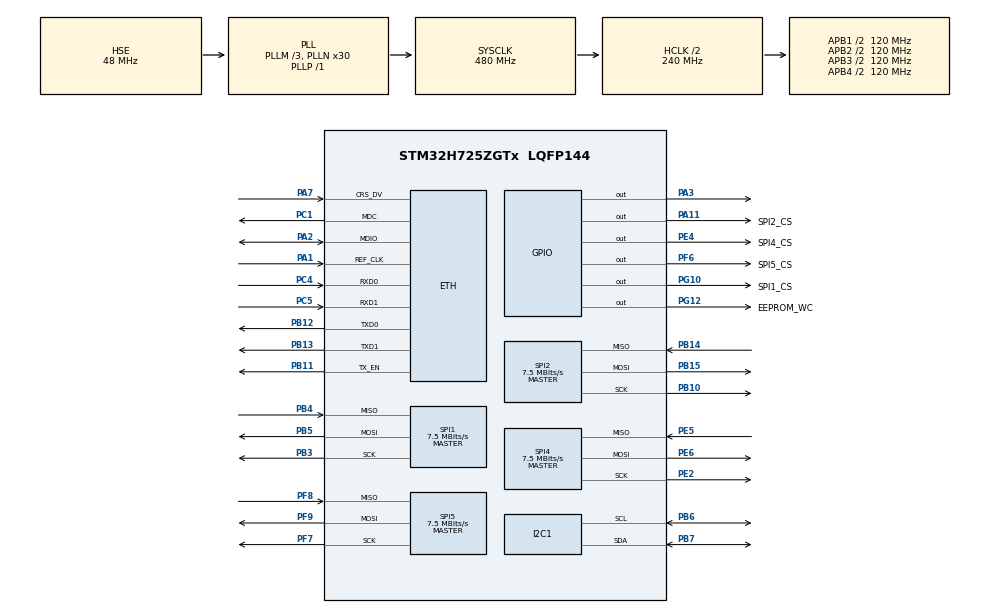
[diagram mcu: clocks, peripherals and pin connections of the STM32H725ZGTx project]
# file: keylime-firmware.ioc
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CORTEX_M7.AccessPermission_S-Cortex_Memory_Protection_Unit_Region1_Settings_S=MPU_REGION_FULL_ACCESS
CORTEX_M7.AccessPermission_S-Cortex_Memory_Protection_Unit_Region2_Settings_S=MPU_REGION_FULL_ACCESS
CORTEX_M7.BaseAddress_S-Cortex_Memory_Protection_Unit_Region1_Settings_S=0x30000000
CORTEX_M7.BaseAddress_S-Cortex_Memory_Protection_Unit_Region2_Settings_S=0x30000000
CORTEX_M7.CPU_DCache=Enabled
CORTEX_M7.CPU_ICache=Enabled
CORTEX_M7.DisableExec_S-Cortex_Memory_Protection_Unit_Region1_Settings_S=MPU_INSTRUCTION_ACCESS_DISABLE
CORTEX_M7.DisableExec_S-Cortex_Memory_Protection_Unit_Region2_Settings_S=MPU_INSTRUCTION_ACCESS_DISABLE
CORTEX_M7.Enable_S-Cortex_Memory_Protection_Unit_Region1_Settings_S=MPU_REGION_ENABLE
CORTEX_M7.Enable_S-Cortex_Memory_Protection_Unit_Region2_Settings_S=MPU_REGION_ENABLE
CORTEX_M7.IsBufferable_S-Cortex_Memory_Protection_Unit_Region2_Settings_S=MPU_ACCESS_BUFFERABLE
CORTEX_M7.IsShareable_S-Cortex_Memory_Protection_Unit_Region2_Settings_S=MPU_ACCESS_SHAREABLE
CORTEX_M7.Size_S-Cortex_Memory_Protection_Unit_Region1_Settings_S=MPU_REGION_SIZE_32KB
CORTEX_M7.Size_S-Cortex_Memory_Protection_Unit_Region2_Settings_S=MPU_REGION_SIZE_512B
CORTEX_M7.TypeExtField_S-Cortex_Memory_Protection_Unit_Region1_Settings_S=MPU_TEX_LEVEL1
CORTEX_M7.default_mode_Activation=1
CRC.InputDataInversionMode=CRC_INPUTDATA_INVERSION_BYTE
CRC.OutputDataInversionMode=CRC_OUTPUTDATA_INVERSION_ENABLE
ETH.MediaInterface=HAL_ETH_RMII_MODE
ETH.TxDescAddress=0x30000100
FREERTOS.Tasks01=defaultTask,24,2048,StartDefaultTask,Default,NULL,Dynamic,NULL,NULL
FREERTOS.configMINIMAL_STACK_SIZE=512
FREERTOS.configRECORD_STACK_HIGH_ADDRESS=1
FREERTOS.configTOTAL_HEAP_SIZE=96000
FREERTOS.configUSE_NEWLIB_REENTRANT=1
I2C1.Timing=0x307075B1
LWIP.BSP.number=1
LWIP.DEFAULT_ACCEPTMBOX_SIZE=32
LWIP.DEFAULT_TCP_RECVMBOX_SIZE=64
LWIP.DEFAULT_UDP_RECVMBOX_SIZE=64
LWIP.IP_ADDRESS=000.000.000.000
LWIP.LWIP_DHCP=0
LWIP.LWIP_RAM_HEAP_POINTER=0x30000200
LWIP.LWIP_SNTP=1
LWIP.LWIP_SO_RCVTIMEO=1
LWIP.LWIP_SO_SNDTIMEO=1
LWIP.LWIP_TCPIP_TIMEOUT=1
LWIP.LWIP_TCP_KEEPALIVE=1
LWIP.LWIP_TFTP=1
LWIP.MEMP_NUM_API_MSG=10
LWIP.MEMP_NUM_NETBUF=64
LWIP.MEMP_NUM_NETCONN=10
LWIP.MEMP_NUM_NETDB=4
LWIP.MEMP_NUM_SYS_TIMEOUT=16
LWIP.MEMP_NUM_TCPIP_MSG_INPKT=64
LWIP.MEMP_NUM_TCP_PCB=8
LWIP.MEMP_NUM_TCP_SEG=32
LWIP.MEMP_NUM_UDP_PCB=8
LWIP.MEM_SIZE=32232
LWIP.NETMASK_ADDRESS=255.255.255.000
LWIP.PBUF_POOL_BUFSIZE=1536
LWIP.PBUF_POOL_SIZE=64
LWIP.TCPIP_MBOX_SIZE=64
LWIP.TCPIP_THREAD_STACKSIZE=6400
LWIP.TCP_MSS=1460
LWIP.TCP_SND_BUF=5840
LWIP.TCP_SYNMAXRTX=0
LWIP.Version=v2.1.2_Cube
LWIP0.BSP.STBoard=false
LWIP0.BSP.api=BSP_COMPONENT_DRIVER
LWIP0.BSP.component=LAN8742
LWIP0.BSP.instance=LAN8742
LWIP0.BSP.name=Driver_PHY
LWIP0.BSP.semaphore=S_LAN8742
LWIP0.BSP.solution=LAN8742
Mcu.Family=STM32H7
Mcu.Name=STM32H725ZGTx
Mcu.Package=LQFP144
NVIC.ETH_IRQn=true\:5\:0\:false\:false\:true\:true\:true\:true\:true
NVIC.PriorityGroup=NVIC_PRIORITYGROUP_4
NVIC.TIM6_DAC_IRQn=true\:15\:0\:false\:false\:true\:false\:false\:true\:true
NVIC.TimeBase=TIM6_DAC_IRQn
NVIC.TimeBaseIP=TIM6
PA1.GPIO_Speed=GPIO_SPEED_FREQ_VERY_HIGH
PA1.Mode=RMII
PA1.Signal=ETH_REF_CLK
PA11.GPIO_Label=SPI2_CS
PA11.PinState=GPIO_PIN_SET
PA11.Signal=GPIO_Output
PA2.GPIO_Speed=GPIO_SPEED_FREQ_VERY_HIGH
PA2.Mode=RMII
PA2.Signal=ETH_MDIO
PA3.Signal=GPIO_Output
PA7.GPIO_Speed=GPIO_SPEED_FREQ_VERY_HIGH
PA7.Mode=RMII
PA7.Signal=ETH_CRS_DV
PB10.Mode=Full_Duplex_Master
PB10.Signal=SPI2_SCK
PB11.GPIO_Speed=GPIO_SPEED_FREQ_VERY_HIGH
PB11.Mode=RMII
PB11.Signal=ETH_TX_EN
PB12.GPIO_Speed=GPIO_SPEED_FREQ_VERY_HIGH
PB12.Mode=RMII
PB12.Signal=ETH_TXD0
PB13.GPIO_Speed=GPIO_SPEED_FREQ_VERY_HIGH
PB13.Mode=RMII
PB13.Signal=ETH_TXD1
PB14.Mode=Full_Duplex_Master
PB14.Signal=SPI2_MISO
PB15.Mode=Full_Duplex_Master
PB15.Signal=SPI2_MOSI
PB3(JTDO/TRACESWO).Mode=Full_Duplex_Master
PB3(JTDO/TRACESWO).Signal=SPI1_SCK
PB4(NJTRST).Mode=Full_Duplex_Master
PB4(NJTRST).Signal=SPI1_MISO
PB5.Mode=Full_Duplex_Master
PB5.Signal=SPI1_MOSI
PB6.Mode=I2C
PB6.Signal=I2C1_SCL
PB7.Mode=I2C
PB7.Signal=I2C1_SDA
PC1.GPIO_Speed=GPIO_SPEED_FREQ_VERY_HIGH
PC1.Mode=RMII
PC1.Signal=ETH_MDC
PC4.GPIO_Speed=GPIO_SPEED_FREQ_VERY_HIGH
PC4.Mode=RMII
PC4.Signal=ETH_RXD0
PC5.GPIO_Speed=GPIO_SPEED_FREQ_VERY_HIGH
PC5.Mode=RMII
PC5.Signal=ETH_RXD1
PE2.Mode=Full_Duplex_Master
PE2.Signal=SPI4_SCK
PE4.GPIO_Label=SPI4_CS
PE4.PinState=GPIO_PIN_SET
PE4.Signal=GPIO_Output
PE5.Mode=Full_Duplex_Master
PE5.Signal=SPI4_MISO
PE6.Mode=Full_Duplex_Master
PE6.Signal=SPI4_MOSI
PF6.GPIO_Label=SPI5_CS
PF6.PinState=GPIO_PIN_SET
PF6.Signal=GPIO_Output
PF7.Mode=Full_Duplex_Master
PF7.Signal=SPI5_SCK
PF8.Mode=Full_Duplex_Master
PF8.Signal=SPI5_MISO
PF9.Mode=Full_Duplex_Master
PF9.Signal=SPI5_MOSI
PG10.GPIO_Label=SPI1_CS
PG10.PinState=GPIO_PIN_SET
PG10.Signal=GPIO_Output
PG12.GPIO_Label=EEPROM_WC
PG12.Signal=GPIO_Output
PH0-OSC_IN.Mode=HSE-External-Oscillator
PH0-OSC_IN.Signal=RCC_OSC_IN
PH1-OSC_OUT.Mode=HSE-External-Oscillator
PH1-OSC_OUT.Signal=RCC_OSC_OUT
ProjectManager.HeapSize=0x200
ProjectManager.StackSize=0x400
ProjectManager.TargetToolchain=STM32CubeIDE
RCC.ADCFreq_Value=387000000
RCC.APB1Freq_Value=120000000
RCC.APB2Freq_Value=120000000
RCC.APB3Freq_Value=120000000
RCC.APB4Freq_Value=120000000
RCC.CortexFreq_Value=480000000
RCC.D1PPRE=RCC_APB3_DIV2
RCC.D2PPRE1=RCC_APB1_DIV2
RCC.D2PPRE2=RCC_APB2_DIV2
RCC.D3PPRE=RCC_APB4_DIV2
RCC.DIVM1=3
RCC.DIVM2=8
RCC.DIVM3=3
RCC.DIVN1=30
RCC.DIVN3=30
RCC.DIVP1=1
RCC.HCLKFreq_Value=240000000
RCC.HPRE=RCC_HCLK_DIV2
RCC.HSE_VALUE=48000000
RCC.PLLSourceVirtual=RCC_PLLSOURCE_HSE
RCC.PWR_Regulator_Voltage_Scale=PWR_REGULATOR_VOLTAGE_SCALE0
RCC.RCC_RTC_Clock_Source_FROM_HSE=RCC_RTCCLKSOURCE_HSE_DIV60
RCC.RTCClockSelection=RCC_RTCCLKSOURCE_HSE_DIV60
RCC.SYSCLKFreq_VALUE=480000000
RCC.SYSCLKSource=RCC_SYSCLKSOURCE_PLLCLK
RCC.Spi45ClockSelection=RCC_SPI45CLKSOURCE_PLL3
RCC.SupplySource=PWR_LDO_SUPPLY
RCC.USBFreq_Value=240000000
RTC.Format=RTC_FORMAT_BIN
SPI1.BaudRatePrescaler=SPI_BAUDRATEPRESCALER_32
SPI1.CalculateBaudRate=7.5 MBits/s
SPI1.DataSize=SPI_DATASIZE_8BIT
SPI1.Direction=SPI_DIRECTION_2LINES
SPI1.Mode=SPI_MODE_MASTER
SPI1.VirtualType=VM_MASTER
SPI2.BaudRatePrescaler=SPI_BAUDRATEPRESCALER_32
SPI2.CalculateBaudRate=7.5 MBits/s
SPI2.DataSize=SPI_DATASIZE_8BIT
SPI2.Direction=SPI_DIRECTION_2LINES
SPI2.Mode=SPI_MODE_MASTER
SPI2.VirtualType=VM_MASTER
SPI4.BaudRatePrescaler=SPI_BAUDRATEPRESCALER_32
SPI4.CalculateBaudRate=7.5 MBits/s
SPI4.DataSize=SPI_DATASIZE_8BIT
SPI4.Direction=SPI_DIRECTION_2LINES
SPI4.Mode=SPI_MODE_MASTER
SPI4.VirtualType=VM_MASTER
SPI5.BaudRatePrescaler=SPI_BAUDRATEPRESCALER_32
SPI5.CalculateBaudRate=7.5 MBits/s
SPI5.DataSize=SPI_DATASIZE_8BIT
SPI5.Direction=SPI_DIRECTION_2LINES
SPI5.Mode=SPI_MODE_MASTER
SPI5.VirtualType=VM_MASTER
VP_CRC_VS_CRC.Mode=CRC_Activate
VP_FREERTOS_VS_CMSIS_V2.Mode=CMSIS_V2
VP_LWIP_VS_Enabled.Mode=Enabled
VP_MEMORYMAP_VS_MEMORYMAP.Mode=CurAppReg
VP_RTC_VS_RTC_Activate.Mode=RTC_Enabled
VP_RTC_VS_RTC_Calendar.Mode=RTC_Calendar
VP_SYS_VS_tim6.Mode=TIM6
board=custom

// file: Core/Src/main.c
/* USER CODE BEGIN Header */
/**
  ******************************************************************************
  * @file           : main.c
  * @brief          : Main program body
  ******************************************************************************
  * @attention
  *
  * Copyright (c) 2025 STMicroelectronics.
  * All rights reserved.
  *
  * This software is licensed under terms that can be found in the LICENSE file
  * in the root directory of this software component.
  * If no LICENSE file comes with this software, it is provided AS-IS.
  *
  ******************************************************************************
  */
/* USER CODE END Header */
#include "main.h"
#include "cmsis_os.h"
#include "lwip.h"

/* USER CODE BEGIN Includes */
#include "logging.h"
#include "eeprom-config.h"
#include "client.h"
#include "network-processing.h"
#include "udptelemetry.h"
/* USER CODE END Includes */

/* USER CODE BEGIN PD */
extern struct netif gnetif;
EEPROM_conf_t loaded_config = {0};
ip4_addr_t fr_addr;
/* USER CODE END PD */

CRC_HandleTypeDef hcrc;

I2C_HandleTypeDef hi2c1;

RTC_HandleTypeDef hrtc;

SPI_HandleTypeDef hspi1;
SPI_HandleTypeDef hspi2;
SPI_HandleTypeDef hspi4;
SPI_HandleTypeDef hspi5;

/* Definitions for defaultTask */
osThreadId_t defaultTaskHandle;
const osThreadAttr_t defaultTask_attributes = {
  .name = "defaultTask",
  .stack_size = 2048 * 4,
  .priority = (osPriority_t) osPriorityNormal,
};
/* USER CODE BEGIN PV */
osThreadId_t logListenTaskHandle;
const osThreadAttr_t log_listen_task_attr = {
  .name = "logListenTask",
  .stack_size = 512 * 4,
  .priority = (osPriority_t) osPriorityNormal,
};

osThreadId_t telemetrySendTaskHandle;
const osThreadAttr_t telemetry_send_task_attr = {
  .name = "telemSendTask",
  .stack_size = 512 * 4,
  .priority = (osPriority_t) osPriorityNormal,
};

osThreadId_t packetTaskHandle;
const osThreadAttr_t packet_task_attr = {
  .name = "packetTask",
  .stack_size = 512 * 4,
  .priority = (osPriority_t) osPriorityNormal,
};

osThreadId_t flashClearTaskHandle;
const osThreadAttr_t flash_clear_task_attr = {
  .name = "flashCTask",
  .stack_size = 1024 * 4,
  .priority = (osPriority_t) osPriorityNormal,
};

/* USER CODE END PV */

void SystemClock_Config(void);
void PeriphCommonClock_Config(void);
static void MPU_Config(void);
static void MX_GPIO_Init(void);
static void MX_RTC_Init(void);
static void MX_SPI5_Init(void);
static void MX_CRC_Init(void);
static void MX_I2C1_Init(void);
static void MX_SPI1_Init(void);
static void MX_SPI2_Init(void);
static void MX_SPI4_Init(void);
void StartDefaultTask(void *argument);

/* USER CODE BEGIN 0 */
void __malloc_lock(struct _reent *r) {
    if(xTaskGetSchedulerState() != taskSCHEDULER_NOT_STARTED) {
        vTaskSuspendAll();
    }
}

void __malloc_unlock(struct _reent *r) {
    if(xTaskGetSchedulerState() != taskSCHEDULER_NOT_STARTED) {
        (void)xTaskResumeAll();
    }
}

static void Enable_GPIO_Clock(GPIO_TypeDef *port) {
    if (port == GPIOA) __HAL_RCC_GPIOA_CLK_ENABLE();
    else if (port == GPIOB) __HAL_RCC_GPIOB_CLK_ENABLE();
    else if (port == GPIOC) __HAL_RCC_GPIOC_CLK_ENABLE();
    else if (port == GPIOD) __HAL_RCC_GPIOD_CLK_ENABLE();
    else if (port == GPIOE) __HAL_RCC_GPIOE_CLK_ENABLE();
    else if (port == GPIOF) __HAL_RCC_GPIOF_CLK_ENABLE();
    else if (port == GPIOG) __HAL_RCC_GPIOG_CLK_ENABLE();
    else if (port == GPIOH) __HAL_RCC_GPIOH_CLK_ENABLE();
#ifdef GPIOI
    else if (port == GPIOI) __HAL_RCC_GPIOI_CLK_ENABLE();
#endif
    else if (port == GPIOJ) __HAL_RCC_GPIOJ_CLK_ENABLE();
    else if (port == GPIOK) __HAL_RCC_GPIOK_CLK_ENABLE();
}

void clear_i2c_bus(GPIO_TypeDef * scl_port, uint16_t scl_pin, GPIO_TypeDef * sda_port, uint16_t sda_pin) {
	Enable_GPIO_Clock(scl_port);
	Enable_GPIO_Clock(sda_port);

    GPIO_InitTypeDef GPIO_InitStruct = {0};

    GPIO_InitStruct.Pin = scl_pin;
    GPIO_InitStruct.Mode = GPIO_MODE_OUTPUT_OD;
    GPIO_InitStruct.Pull = GPIO_NOPULL;
    GPIO_InitStruct.Speed = GPIO_SPEED_FREQ_HIGH;
    HAL_GPIO_Init(scl_port, &GPIO_InitStruct);

    GPIO_InitStruct.Pin = sda_pin;
    GPIO_InitStruct.Mode = GPIO_MODE_OUTPUT_OD;
    GPIO_InitStruct.Pull = GPIO_NOPULL;
    GPIO_InitStruct.Speed = GPIO_SPEED_FREQ_HIGH;
    HAL_GPIO_Init(sda_port, &GPIO_InitStruct);

    HAL_GPIO_WritePin(sda_port, sda_pin, GPIO_PIN_SET);

    for (uint8_t i = 0; i < 9; i++) {
        if (HAL_GPIO_ReadPin(sda_port, sda_pin) == GPIO_PIN_SET) {
            break;
        }

        HAL_GPIO_WritePin(scl_port, scl_pin, GPIO_PIN_RESET);
        HAL_Delay(1);

        HAL_GPIO_WritePin(scl_port, scl_pin, GPIO_PIN_SET);
        HAL_Delay(1);
    }

    HAL_GPIO_WritePin(scl_port, scl_pin, GPIO_PIN_SET);
    HAL_Delay(1);
    HAL_GPIO_WritePin(sda_port, sda_pin, GPIO_PIN_RESET);
    HAL_Delay(1);
    HAL_GPIO_WritePin(sda_port, sda_pin, GPIO_PIN_SET);
    HAL_Delay(1);

    HAL_GPIO_DeInit(sda_port, sda_pin);
    HAL_GPIO_DeInit(scl_port, scl_pin);
}
/* USER CODE END 0 */

int main(void)
{

  /* MPU Configuration--------------------------------------------------------*/
  MPU_Config();

  /* Enable the CPU Cache */

  /* Enable I-Cache---------------------------------------------------------*/
  SCB_EnableICache();

  /* Enable D-Cache---------------------------------------------------------*/
  SCB_EnableDCache();

  /* MCU Configuration--------------------------------------------------------*/

  /* Reset of all peripherals, Initializes the Flash interface and the Systick. */
  HAL_Init();

  /* Configure the system clock */
  SystemClock_Config();

  /* Configure the peripherals common clocks */
  PeriphCommonClock_Config();

  /* USER CODE BEGIN SysInit */
  HAL_PWR_EnableBkUpAccess();
  // Force reset RTC registers in case something got corrupted
  __HAL_RCC_BACKUPRESET_FORCE();
  __HAL_RCC_BACKUPRESET_RELEASE();

  clear_i2c_bus(GPIOB, GPIO_PIN_6, GPIOB, GPIO_PIN_7);
  /* USER CODE END SysInit */

  /* Initialize all configured peripherals */
  MX_GPIO_Init();
  MX_RTC_Init();
  MX_SPI5_Init();
  MX_CRC_Init();
  MX_I2C1_Init();
  MX_SPI1_Init();
  MX_SPI2_Init();
  MX_SPI4_Init();

  /* Init scheduler */
  osKernelInitialize();

  /* USER CODE BEGIN RTOS_MUTEX */
  timesync_setup(&hrtc);
  if(logging_setup()) {
	 for(;;) {}
  }
  /* USER CODE END RTOS_MUTEX */

  /* USER CODE BEGIN RTOS_QUEUES */
  if(setup_eeprom(&hi2c1, EEPROM_WC_GPIO_Port, EEPROM_WC_Pin)) {
#ifdef EEPROM_OVERRIDE
  	load_eeprom_defaults(&loaded_config);
  	log_message(STAT_EEPROM_DEFAULT_LOADED, -1);
#else
  	switch(load_eeprom_config(&loaded_config)) {
  	  	case -1: {
  	  		// eeprom load error, defaults loaded
  	  		load_eeprom_defaults(&loaded_config);
  	  		log_message(ERR_EEPROM_LOAD_COMM_ERR, -1);
  	  		break;
  	  	}
  	  	default: {
  	  		// eeprom conf loaded
  	  		log_message(STAT_EEPROM_LOADED, -1);
  	  		break;
  		}
  	}
#endif
  }
  else {
    // eeprom init error, defaults loaded
    load_eeprom_defaults(&loaded_config);
    log_message(ERR_EEPROM_INIT, -1);
  }
  fr_addr = loaded_config.flightrecorderIP;

  log_message(STAT_VERSION_INFO, -1);
  if(init_flash_logging(&hspi1, SPI1_CS_GPIO_Port, SPI1_CS_Pin, 0)) {
	log_message(FR_ERR_FLASH_INIT_FAILED "1", -1);
  }
  if(init_flash_logging(&hspi2, SPI2_CS_GPIO_Port, SPI2_CS_Pin, 1)) {
    log_message(FR_ERR_FLASH_INIT_FAILED "2", -1);
  }
  if(init_flash_logging(&hspi4, SPI4_CS_GPIO_Port, SPI4_CS_Pin, 2)) {
    log_message(FR_ERR_FLASH_INIT_FAILED "3", -1);
  }
  if(init_flash_logging(&hspi5, SPI5_CS_GPIO_Port, SPI5_CS_Pin, 3)) {
    log_message(FR_ERR_FLASH_INIT_FAILED "4", -1);
  }

  if(telemetry_setup(get_logging_state(0) == 1)) {
     for(;;) {}
  }

  /* USER CODE END RTOS_QUEUES */

  /* Create the thread(s) */
  /* creation of defaultTask */
  defaultTaskHandle = osThreadNew(StartDefaultTask, NULL, &defaultTask_attributes);

  /* USER CODE BEGIN RTOS_THREADS */
  flashClearTaskHandle = osThreadNew(FlashClearTask, NULL, &flash_clear_task_attr);
  /* add threads, ... */
  /* USER CODE END RTOS_THREADS */

  /* Start scheduler */
  osKernelStart();

  /* We should never get here as control is now taken by the scheduler */

  /* Infinite loop */
  while (1)
  {

  }
}

void SystemClock_Config(void)
{
  RCC_OscInitTypeDef RCC_OscInitStruct = {0};
  RCC_ClkInitTypeDef RCC_ClkInitStruct = {0};

  /** Supply configuration update enable
  */
  HAL_PWREx_ConfigSupply(PWR_LDO_SUPPLY);

  /** Configure the main internal regulator output voltage
  */
  __HAL_PWR_VOLTAGESCALING_CONFIG(PWR_REGULATOR_VOLTAGE_SCALE0);

  while(!__HAL_PWR_GET_FLAG(PWR_FLAG_VOSRDY)) {}

  /** Initializes the RCC Oscillators according to the specified parameters
  * in the RCC_OscInitTypeDef structure.
  */
  RCC_OscInitStruct.OscillatorType = RCC_OSCILLATORTYPE_HSE;
  RCC_OscInitStruct.HSEState = RCC_HSE_ON;
  RCC_OscInitStruct.PLL.PLLState = RCC_PLL_ON;
  RCC_OscInitStruct.PLL.PLLSource = RCC_PLLSOURCE_HSE;
  RCC_OscInitStruct.PLL.PLLM = 3;
  RCC_OscInitStruct.PLL.PLLN = 30;
  RCC_OscInitStruct.PLL.PLLP = 1;
  RCC_OscInitStruct.PLL.PLLQ = 2;
  RCC_OscInitStruct.PLL.PLLR = 2;
  RCC_OscInitStruct.PLL.PLLRGE = RCC_PLL1VCIRANGE_3;
  RCC_OscInitStruct.PLL.PLLVCOSEL = RCC_PLL1VCOWIDE;
  RCC_OscInitStruct.PLL.PLLFRACN = 0;
  if (HAL_RCC_OscConfig(&RCC_OscInitStruct) != HAL_OK)
  {
    Error_Handler();
  }

  /** Initializes the CPU, AHB and APB buses clocks
  */
  RCC_ClkInitStruct.ClockType = RCC_CLOCKTYPE_HCLK|RCC_CLOCKTYPE_SYSCLK
                              |RCC_CLOCKTYPE_PCLK1|RCC_CLOCKTYPE_PCLK2
                              |RCC_CLOCKTYPE_D3PCLK1|RCC_CLOCKTYPE_D1PCLK1;
  RCC_ClkInitStruct.SYSCLKSource = RCC_SYSCLKSOURCE_PLLCLK;
  RCC_ClkInitStruct.SYSCLKDivider = RCC_SYSCLK_DIV1;
  RCC_ClkInitStruct.AHBCLKDivider = RCC_HCLK_DIV2;
  RCC_ClkInitStruct.APB3CLKDivider = RCC_APB3_DIV2;
  RCC_ClkInitStruct.APB1CLKDivider = RCC_APB1_DIV2;
  RCC_ClkInitStruct.APB2CLKDivider = RCC_APB2_DIV2;
  RCC_ClkInitStruct.APB4CLKDivider = RCC_APB4_DIV2;

  if (HAL_RCC_ClockConfig(&RCC_ClkInitStruct, FLASH_LATENCY_3) != HAL_OK)
  {
    Error_Handler();
  }
}

void PeriphCommonClock_Config(void)
{
  RCC_PeriphCLKInitTypeDef PeriphClkInitStruct = {0};

  /** Initializes the peripherals clock
  */
  PeriphClkInitStruct.PeriphClockSelection = RCC_PERIPHCLK_SPI4|RCC_PERIPHCLK_SPI5;
  PeriphClkInitStruct.PLL3.PLL3M = 3;
  PeriphClkInitStruct.PLL3.PLL3N = 30;
  PeriphClkInitStruct.PLL3.PLL3P = 2;
  PeriphClkInitStruct.PLL3.PLL3Q = 2;
  PeriphClkInitStruct.PLL3.PLL3R = 2;
  PeriphClkInitStruct.PLL3.PLL3RGE = RCC_PLL3VCIRANGE_3;
  PeriphClkInitStruct.PLL3.PLL3VCOSEL = RCC_PLL3VCOWIDE;
  PeriphClkInitStruct.PLL3.PLL3FRACN = 0;
  PeriphClkInitStruct.Spi45ClockSelection = RCC_SPI45CLKSOURCE_PLL3;
  if (HAL_RCCEx_PeriphCLKConfig(&PeriphClkInitStruct) != HAL_OK)
  {
    Error_Handler();
  }
}

static void MX_CRC_Init(void)
{

  hcrc.Instance = CRC;
  hcrc.Init.DefaultPolynomialUse = DEFAULT_POLYNOMIAL_ENABLE;
  hcrc.Init.DefaultInitValueUse = DEFAULT_INIT_VALUE_ENABLE;
  hcrc.Init.InputDataInversionMode = CRC_INPUTDATA_INVERSION_BYTE;
  hcrc.Init.OutputDataInversionMode = CRC_OUTPUTDATA_INVERSION_ENABLE;
  hcrc.InputDataFormat = CRC_INPUTDATA_FORMAT_BYTES;
  if (HAL_CRC_Init(&hcrc) != HAL_OK)
  {
    Error_Handler();
  }

}

static void MX_I2C1_Init(void)
{

  hi2c1.Instance = I2C1;
  hi2c1.Init.Timing = 0x307075B1;
  hi2c1.Init.OwnAddress1 = 0;
  hi2c1.Init.AddressingMode = I2C_ADDRESSINGMODE_7BIT;
  hi2c1.Init.DualAddressMode = I2C_DUALADDRESS_DISABLE;
  hi2c1.Init.OwnAddress2 = 0;
  hi2c1.Init.OwnAddress2Masks = I2C_OA2_NOMASK;
  hi2c1.Init.GeneralCallMode = I2C_GENERALCALL_DISABLE;
  hi2c1.Init.NoStretchMode = I2C_NOSTRETCH_DISABLE;
  if (HAL_I2C_Init(&hi2c1) != HAL_OK)
  {
    Error_Handler();
  }

  /** Configure Analogue filter
  */
  if (HAL_I2CEx_ConfigAnalogFilter(&hi2c1, I2C_ANALOGFILTER_ENABLE) != HAL_OK)
  {
    Error_Handler();
  }

  /** Configure Digital filter
  */
  if (HAL_I2CEx_ConfigDigitalFilter(&hi2c1, 0) != HAL_OK)
  {
    Error_Handler();
  }

}

static void MX_RTC_Init(void)
{

  RTC_TimeTypeDef sTime = {0};
  RTC_DateTypeDef sDate = {0};

  /** Initialize RTC Only
  */
  hrtc.Instance = RTC;
  hrtc.Init.HourFormat = RTC_HOURFORMAT_24;
  hrtc.Init.AsynchPrediv = 127;
  hrtc.Init.SynchPrediv = 255;
  hrtc.Init.OutPut = RTC_OUTPUT_DISABLE;
  hrtc.Init.OutPutPolarity = RTC_OUTPUT_POLARITY_HIGH;
  hrtc.Init.OutPutType = RTC_OUTPUT_TYPE_OPENDRAIN;
  hrtc.Init.OutPutRemap = RTC_OUTPUT_REMAP_NONE;
  if (HAL_RTC_Init(&hrtc) != HAL_OK)
  {
    Error_Handler();
  }

  /** Initialize RTC and set the Time and Date
  */
  sTime.Hours = 0;
  sTime.Minutes = 0;
  sTime.Seconds = 0;
  sTime.DayLightSaving = RTC_DAYLIGHTSAVING_NONE;
  sTime.StoreOperation = RTC_STOREOPERATION_RESET;
  if (HAL_RTC_SetTime(&hrtc, &sTime, RTC_FORMAT_BIN) != HAL_OK)
  {
    Error_Handler();
  }
  sDate.WeekDay = RTC_WEEKDAY_MONDAY;
  sDate.Month = RTC_MONTH_JANUARY;
  sDate.Date = 1;
  sDate.Year = 0;

  if (HAL_RTC_SetDate(&hrtc, &sDate, RTC_FORMAT_BIN) != HAL_OK)
  {
    Error_Handler();
  }

}

static void MX_SPI1_Init(void)
{

  /* SPI1 parameter configuration*/
  hspi1.Instance = SPI1;
  hspi1.Init.Mode = SPI_MODE_MASTER;
  hspi1.Init.Direction = SPI_DIRECTION_2LINES;
  hspi1.Init.DataSize = SPI_DATASIZE_8BIT;
  hspi1.Init.CLKPolarity = SPI_POLARITY_LOW;
  hspi1.Init.CLKPhase = SPI_PHASE_1EDGE;
  hspi1.Init.NSS = SPI_NSS_SOFT;
  hspi1.Init.BaudRatePrescaler = SPI_BAUDRATEPRESCALER_32;
  hspi1.Init.FirstBit = SPI_FIRSTBIT_MSB;
  hspi1.Init.TIMode = SPI_TIMODE_DISABLE;
  hspi1.Init.CRCCalculation = SPI_CRCCALCULATION_DISABLE;
  hspi1.Init.CRCPolynomial = 0x0;
  hspi1.Init.NSSPMode = SPI_NSS_PULSE_ENABLE;
  hspi1.Init.NSSPolarity = SPI_NSS_POLARITY_LOW;
  hspi1.Init.FifoThreshold = SPI_FIFO_THRESHOLD_01DATA;
  hspi1.Init.TxCRCInitializationPattern = SPI_CRC_INITIALIZATION_ALL_ZERO_PATTERN;
  hspi1.Init.RxCRCInitializationPattern = SPI_CRC_INITIALIZATION_ALL_ZERO_PATTERN;
  hspi1.Init.MasterSSIdleness = SPI_MASTER_SS_IDLENESS_00CYCLE;
  hspi1.Init.MasterInterDataIdleness = SPI_MASTER_INTERDATA_IDLENESS_00CYCLE;
  hspi1.Init.MasterReceiverAutoSusp = SPI_MASTER_RX_AUTOSUSP_DISABLE;
  hspi1.Init.MasterKeepIOState = SPI_MASTER_KEEP_IO_STATE_DISABLE;
  hspi1.Init.IOSwap = SPI_IO_SWAP_DISABLE;
  if (HAL_SPI_Init(&hspi1) != HAL_OK)
  {
    Error_Handler();
  }

}

static void MX_SPI2_Init(void)
{

  /* SPI2 parameter configuration*/
  hspi2.Instance = SPI2;
  hspi2.Init.Mode = SPI_MODE_MASTER;
  hspi2.Init.Direction = SPI_DIRECTION_2LINES;
  hspi2.Init.DataSize = SPI_DATASIZE_8BIT;
  hspi2.Init.CLKPolarity = SPI_POLARITY_LOW;
  hspi2.Init.CLKPhase = SPI_PHASE_1EDGE;
  hspi2.Init.NSS = SPI_NSS_SOFT;
  hspi2.Init.BaudRatePrescaler = SPI_BAUDRATEPRESCALER_32;
  hspi2.Init.FirstBit = SPI_FIRSTBIT_MSB;
  hspi2.Init.TIMode = SPI_TIMODE_DISABLE;
  hspi2.Init.CRCCalculation = SPI_CRCCALCULATION_DISABLE;
  hspi2.Init.CRCPolynomial = 0x0;
  hspi2.Init.NSSPMode = SPI_NSS_PULSE_ENABLE;
  hspi2.Init.NSSPolarity = SPI_NSS_POLARITY_LOW;
  hspi2.Init.FifoThreshold = SPI_FIFO_THRESHOLD_01DATA;
  hspi2.Init.TxCRCInitializationPattern = SPI_CRC_INITIALIZATION_ALL_ZERO_PATTERN;
  hspi2.Init.RxCRCInitializationPattern = SPI_CRC_INITIALIZATION_ALL_ZERO_PATTERN;
  hspi2.Init.MasterSSIdleness = SPI_MASTER_SS_IDLENESS_00CYCLE;
  hspi2.Init.MasterInterDataIdleness = SPI_MASTER_INTERDATA_IDLENESS_00CYCLE;
  hspi2.Init.MasterReceiverAutoSusp = SPI_MASTER_RX_AUTOSUSP_DISABLE;
  hspi2.Init.MasterKeepIOState = SPI_MASTER_KEEP_IO_STATE_DISABLE;
  hspi2.Init.IOSwap = SPI_IO_SWAP_DISABLE;
  if (HAL_SPI_Init(&hspi2) != HAL_OK)
  {
    Error_Handler();
  }

}

static void MX_SPI4_Init(void)
{

  /* SPI4 parameter configuration*/
  hspi4.Instance = SPI4;
  hspi4.Init.Mode = SPI_MODE_MASTER;
  hspi4.Init.Direction = SPI_DIRECTION_2LINES;
  hspi4.Init.DataSize = SPI_DATASIZE_8BIT;
  hspi4.Init.CLKPolarity = SPI_POLARITY_LOW;
  hspi4.Init.CLKPhase = SPI_PHASE_1EDGE;
  hspi4.Init.NSS = SPI_NSS_SOFT;
  hspi4.Init.BaudRatePrescaler = SPI_BAUDRATEPRESCALER_32;
  hspi4.Init.FirstBit = SPI_FIRSTBIT_MSB;
  hspi4.Init.TIMode = SPI_TIMODE_DISABLE;
  hspi4.Init.CRCCalculation = SPI_CRCCALCULATION_DISABLE;
  hspi4.Init.CRCPolynomial = 0x0;
  hspi4.Init.NSSPMode = SPI_NSS_PULSE_ENABLE;
  hspi4.Init.NSSPolarity = SPI_NSS_POLARITY_LOW;
  hspi4.Init.FifoThreshold = SPI_FIFO_THRESHOLD_01DATA;
  hspi4.Init.TxCRCInitializationPattern = SPI_CRC_INITIALIZATION_ALL_ZERO_PATTERN;
  hspi4.Init.RxCRCInitializationPattern = SPI_CRC_INITIALIZATION_ALL_ZERO_PATTERN;
  hspi4.Init.MasterSSIdleness = SPI_MASTER_SS_IDLENESS_00CYCLE;
  hspi4.Init.MasterInterDataIdleness = SPI_MASTER_INTERDATA_IDLENESS_00CYCLE;
  hspi4.Init.MasterReceiverAutoSusp = SPI_MASTER_RX_AUTOSUSP_DISABLE;
  hspi4.Init.MasterKeepIOState = SPI_MASTER_KEEP_IO_STATE_DISABLE;
  hspi4.Init.IOSwap = SPI_IO_SWAP_DISABLE;
  if (HAL_SPI_Init(&hspi4) != HAL_OK)
  {
    Error_Handler();
  }

}

static void MX_SPI5_Init(void)
{

  /* SPI5 parameter configuration*/
  hspi5.Instance = SPI5;
  hspi5.Init.Mode = SPI_MODE_MASTER;
  hspi5.Init.Direction = SPI_DIRECTION_2LINES;
  hspi5.Init.DataSize = SPI_DATASIZE_8BIT;
  hspi5.Init.CLKPolarity = SPI_POLARITY_LOW;
  hspi5.Init.CLKPhase = SPI_PHASE_1EDGE;
  hspi5.Init.NSS = SPI_NSS_SOFT;
  hspi5.Init.BaudRatePrescaler = SPI_BAUDRATEPRESCALER_32;
  hspi5.Init.FirstBit = SPI_FIRSTBIT_MSB;
  hspi5.Init.TIMode = SPI_TIMODE_DISABLE;
  hspi5.Init.CRCCalculation = SPI_CRCCALCULATION_DISABLE;
  hspi5.Init.CRCPolynomial = 0x0;
  hspi5.Init.NSSPMode = SPI_NSS_PULSE_ENABLE;
  hspi5.Init.NSSPolarity = SPI_NSS_POLARITY_LOW;
  hspi5.Init.FifoThreshold = SPI_FIFO_THRESHOLD_01DATA;
  hspi5.Init.TxCRCInitializationPattern = SPI_CRC_INITIALIZATION_ALL_ZERO_PATTERN;
  hspi5.Init.RxCRCInitializationPattern = SPI_CRC_INITIALIZATION_ALL_ZERO_PATTERN;
  hspi5.Init.MasterSSIdleness = SPI_MASTER_SS_IDLENESS_00CYCLE;
  hspi5.Init.MasterInterDataIdleness = SPI_MASTER_INTERDATA_IDLENESS_00CYCLE;
  hspi5.Init.MasterReceiverAutoSusp = SPI_MASTER_RX_AUTOSUSP_DISABLE;
  hspi5.Init.MasterKeepIOState = SPI_MASTER_KEEP_IO_STATE_DISABLE;
  hspi5.Init.IOSwap = SPI_IO_SWAP_DISABLE;
  if (HAL_SPI_Init(&hspi5) != HAL_OK)
  {
    Error_Handler();
  }

}

static void MX_GPIO_Init(void)
{
  GPIO_InitTypeDef GPIO_InitStruct = {0};

  /* GPIO Ports Clock Enable */
  __HAL_RCC_GPIOE_CLK_ENABLE();
  __HAL_RCC_GPIOF_CLK_ENABLE();
  __HAL_RCC_GPIOH_CLK_ENABLE();
  __HAL_RCC_GPIOC_CLK_ENABLE();
  __HAL_RCC_GPIOA_CLK_ENABLE();
  __HAL_RCC_GPIOB_CLK_ENABLE();
  __HAL_RCC_GPIOG_CLK_ENABLE();

  /*Configure GPIO pin Output Level */
  HAL_GPIO_WritePin(SPI4_CS_GPIO_Port, SPI4_CS_Pin, GPIO_PIN_SET);

  /*Configure GPIO pin Output Level */
  HAL_GPIO_WritePin(SPI5_CS_GPIO_Port, SPI5_CS_Pin, GPIO_PIN_SET);

  /*Configure GPIO pin Output Level */
  HAL_GPIO_WritePin(GPIOA, GPIO_PIN_3, GPIO_PIN_RESET);

  /*Configure GPIO pin Output Level */
  HAL_GPIO_WritePin(SPI2_CS_GPIO_Port, SPI2_CS_Pin, GPIO_PIN_SET);

  /*Configure GPIO pin Output Level */
  HAL_GPIO_WritePin(SPI1_CS_GPIO_Port, SPI1_CS_Pin, GPIO_PIN_SET);

  /*Configure GPIO pin Output Level */
  HAL_GPIO_WritePin(EEPROM_WC_GPIO_Port, EEPROM_WC_Pin, GPIO_PIN_RESET);

  /*Configure GPIO pin : SPI4_CS_Pin */
  GPIO_InitStruct.Pin = SPI4_CS_Pin;
  GPIO_InitStruct.Mode = GPIO_MODE_OUTPUT_PP;
  GPIO_InitStruct.Pull = GPIO_NOPULL;
  GPIO_InitStruct.Speed = GPIO_SPEED_FREQ_LOW;
  HAL_GPIO_Init(SPI4_CS_GPIO_Port, &GPIO_InitStruct);

  /*Configure GPIO pin : SPI5_CS_Pin */
  GPIO_InitStruct.Pin = SPI5_CS_Pin;
  GPIO_InitStruct.Mode = GPIO_MODE_OUTPUT_PP;
  GPIO_InitStruct.Pull = GPIO_NOPULL;
  GPIO_InitStruct.Speed = GPIO_SPEED_FREQ_LOW;
  HAL_GPIO_Init(SPI5_CS_GPIO_Port, &GPIO_InitStruct);

  /*Configure GPIO pins : PA3 SPI2_CS_Pin */
  GPIO_InitStruct.Pin = GPIO_PIN_3|SPI2_CS_Pin;
  GPIO_InitStruct.Mode = GPIO_MODE_OUTPUT_PP;
  GPIO_InitStruct.Pull = GPIO_NOPULL;
  GPIO_InitStruct.Speed = GPIO_SPEED_FREQ_LOW;
  HAL_GPIO_Init(GPIOA, &GPIO_InitStruct);

  /*Configure GPIO pins : SPI1_CS_Pin EEPROM_WC_Pin */
  GPIO_InitStruct.Pin = SPI1_CS_Pin|EEPROM_WC_Pin;
  GPIO_InitStruct.Mode = GPIO_MODE_OUTPUT_PP;
  GPIO_InitStruct.Pull = GPIO_NOPULL;
  GPIO_InitStruct.Speed = GPIO_SPEED_FREQ_LOW;
  HAL_GPIO_Init(GPIOG, &GPIO_InitStruct);

}

void StartDefaultTask(void *argument)
{
  /* init code for LWIP */
  MX_LWIP_Init();
  /* USER CODE BEGIN 5 */

  telemetrySendTaskHandle = osThreadNew(TelemetrySend, NULL, &telemetry_send_task_attr);

  logListenTaskHandle = osThreadNew(LogListener, NULL, &log_listen_task_attr);

  // Start packet handler
  packetTaskHandle = osThreadNew(ProcessPackets, NULL, &packet_task_attr);

  // Start TCP client
  switch(client_init(&loaded_config.flightcomputerIP, netif_is_link_up(&gnetif))) {
  	case 2: {
  		// threads didn't start
  		log_message(FR_ERR_TCP_CLIENT_INIT_THREAD, -1);
  		break;
  	}
  	case 1: {
  		// memory error
  		log_message(FR_ERR_TCP_CLIENT_INIT_MEM_ERR, -1);
  		break;
  	}
  	default: {
  		// client initialized
  		log_message(FR_STAT_TCP_CLIENT_INIT, -1);
  		break;
  	}
  }

  log_message(STAT_STARTUP_DONE, -1);

  uint32_t startTick = HAL_GetTick();
  uint32_t heartTick = HAL_GetTick();
  uint8_t logdelay = 0;
  for(;;) {
	//size_t freemem = xPortGetFreeHeapSize();
	if(logdelay > 4) {
		handle_logging(); // Log to UDP and flash
	}

	if(HAL_GetTick() - startTick > 250) {
		startTick = HAL_GetTick();
		if(logdelay < 5) {
			logdelay++;
		}
		//size_t freemem = xPortGetFreeHeapSize();
		refresh_log_timers();
	}

	// Send heartbeat
	if(HAL_GetTick() - heartTick > 1000) {
		heartTick = HAL_GetTick();
		if(is_client_connected() > 0) {
			Message heartbeat = {0};
			heartbeat.type = MSG_HEARTBEAT;
			send_msg_to_device(&heartbeat, 5);
		}
	}
	osDelay(5);
  }
  /* USER CODE END 5 */
}

 /* MPU Configuration */

void MPU_Config(void)
{
  MPU_Region_InitTypeDef MPU_InitStruct = {0};

  /* Disables the MPU */
  HAL_MPU_Disable();

  /** Initializes and configures the Region and the memory to be protected
  */
  MPU_InitStruct.Enable = MPU_REGION_ENABLE;
  MPU_InitStruct.Number = MPU_REGION_NUMBER0;
  MPU_InitStruct.BaseAddress = 0x0;
  MPU_InitStruct.Size = MPU_REGION_SIZE_4GB;
  MPU_InitStruct.SubRegionDisable = 0x87;
  MPU_InitStruct.TypeExtField = MPU_TEX_LEVEL0;
  MPU_InitStruct.AccessPermission = MPU_REGION_NO_ACCESS;
  MPU_InitStruct.DisableExec = MPU_INSTRUCTION_ACCESS_DISABLE;
  MPU_InitStruct.IsShareable = MPU_ACCESS_SHAREABLE;
  MPU_InitStruct.IsCacheable = MPU_ACCESS_NOT_CACHEABLE;
  MPU_InitStruct.IsBufferable = MPU_ACCESS_NOT_BUFFERABLE;

  HAL_MPU_ConfigRegion(&MPU_InitStruct);

  /** Initializes and configures the Region and the memory to be protected
  */
  MPU_InitStruct.Number = MPU_REGION_NUMBER1;
  MPU_InitStruct.BaseAddress = 0x30000000;
  MPU_InitStruct.Size = MPU_REGION_SIZE_32KB;
  MPU_InitStruct.SubRegionDisable = 0x0;
  MPU_InitStruct.TypeExtField = MPU_TEX_LEVEL1;
  MPU_InitStruct.AccessPermission = MPU_REGION_FULL_ACCESS;
  MPU_InitStruct.IsShareable = MPU_ACCESS_NOT_SHAREABLE;

  HAL_MPU_ConfigRegion(&MPU_InitStruct);

  /** Initializes and configures the Region and the memory to be protected
  */
  MPU_InitStruct.Number = MPU_REGION_NUMBER2;
  MPU_InitStruct.Size = MPU_REGION_SIZE_512B;
  MPU_InitStruct.TypeExtField = MPU_TEX_LEVEL0;
  MPU_InitStruct.IsShareable = MPU_ACCESS_SHAREABLE;
  MPU_InitStruct.IsBufferable = MPU_ACCESS_BUFFERABLE;

  HAL_MPU_ConfigRegion(&MPU_InitStruct);
  /* Enables the MPU */
  HAL_MPU_Enable(MPU_PRIVILEGED_DEFAULT);

}

void HAL_TIM_PeriodElapsedCallback(TIM_HandleTypeDef *htim)
{
  if (htim->Instance == TIM6)
  {
    HAL_IncTick();
  }
}

void Error_Handler(void)
{
  __disable_irq();
  while (1)
  {
  }
}
